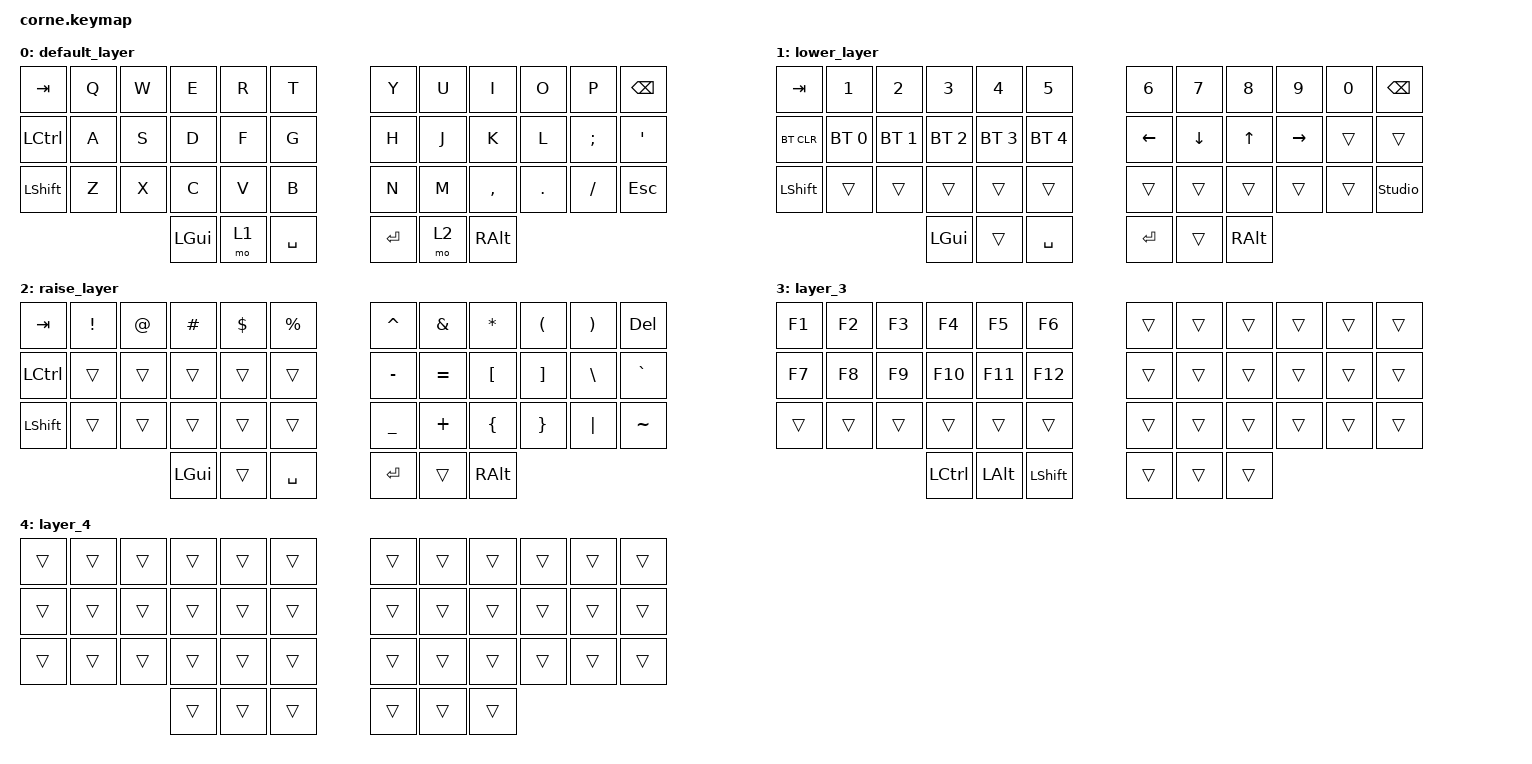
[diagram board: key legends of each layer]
/*
 * Copyright (c) 2020 The ZMK Contributors
 *
 * SPDX-License-Identifier: MIT
 */

#include <behaviors.dtsi>
#include <dt-bindings/zmk/bt.h>
#include <dt-bindings/zmk/keys.h>

/ {
    keymap {
        compatible = "zmk,keymap";

        default_layer {
            // -----------------------------------------------------------------------------------------
            // |  TAB |  Q  |  W  |  E  |  R  |  T  |   |  Y  |  U   |  I  |  O  |  P  | BSPC |
            // | CTRL |  A  |  S  |  D  |  F  |  G  |   |  H  |  J   |  K  |  L  |  ;  |  '   |
            // | SHFT |  Z  |  X  |  C  |  V  |  B  |   |  N  |  M   |  ,  |  .  |  /  | ESC  |
            //                    | GUI | LWR | SPC |   | ENT | RSE  | ALT |

            bindings = <
&kp TAB    &kp Q  &kp W  &kp E     &kp R  &kp T        &kp Y    &kp U  &kp I      &kp O    &kp P     &kp BSPC
&kp LCTRL  &kp A  &kp S  &kp D     &kp F  &kp G        &kp H    &kp J  &kp K      &kp L    &kp SEMI  &kp SQT
&kp LSHFT  &kp Z  &kp X  &kp C     &kp V  &kp B        &kp N    &kp M  &kp COMMA  &kp DOT  &kp FSLH  &kp ESC
                         &kp LGUI  &mo 1  &kp SPACE    &kp RET  &mo 2  &kp RALT
            >;
        };

        lower_layer {
            // -----------------------------------------------------------------------------------------
            // |  TAB |  1  |  2  |  3  |  4  |  5  |   |  6  |  7  |  8  |  9  |  0  | BSPC |
            // | BTCLR| BT1 | BT2 | BT3 | BT4 | BT5 |   | LFT | DWN |  UP | RGT |     |      |
            // | SHFT |     |     |     |     |     |   |     |     |     |     |     | STEN |
            //                    | GUI |     | SPC |   | ENT |     | ALT |

            bindings = <
&kp TAB     &kp N1        &kp N2        &kp N3        &kp N4        &kp N5          &kp N6    &kp N7    &kp N8    &kp N9     &kp N0  &kp BSPC
&bt BT_CLR  &bt BT_SEL 0  &bt BT_SEL 1  &bt BT_SEL 2  &bt BT_SEL 3  &bt BT_SEL 4    &kp LEFT  &kp DOWN  &kp UP    &kp RIGHT  &trans  &trans
&kp LSHFT   &trans        &trans        &trans        &trans        &trans          &trans    &trans    &trans    &trans     &trans  &studio_unlock
                                        &kp LGUI      &trans        &kp SPACE       &kp RET   &trans    &kp RALT
            >;
        };

        raise_layer {
            // -----------------------------------------------------------------------------------------
            // |  TAB |  !  |  @  |  #  |  $  |  %  |   |  ^  |  &  |  *  |  (  |  )  | DEL |
            // | CTRL |     |     |     |     |     |   |  -  |  =  |  [  |  ]  |  \  |  `   |
            // | SHFT |     |     |     |     |     |   |  _  |  +  |  {  |  }  | "|" |  ~   |
            //                    | GUI |     | SPC |   | ENT |     | ALT |

            bindings = <
&kp TAB    &kp EXCL  &kp AT  &kp HASH  &kp DLLR  &kp PRCNT    &kp CARET  &kp AMPS   &kp ASTRK  &kp LPAR  &kp RPAR  &kp DEL
&kp LCTRL  &trans    &trans  &trans    &trans    &trans       &kp MINUS  &kp EQUAL  &kp LBKT   &kp RBKT  &kp BSLH  &kp GRAVE
&kp LSHFT  &trans    &trans  &trans    &trans    &trans       &kp UNDER  &kp PLUS   &kp LBRC   &kp RBRC  &kp PIPE  &kp TILDE
                             &kp LGUI  &trans    &kp SPACE    &kp RET    &trans     &kp RALT
            >;
        };

        layer_3 {
            bindings = <
&kp F1  &kp F2  &kp F3  &kp F4     &kp F5    &kp F6       &trans  &trans  &trans  &trans  &trans  &trans
&kp F7  &kp F8  &kp F9  &kp F10    &kp F11   &kp F12      &trans  &trans  &trans  &trans  &trans  &trans
&trans  &trans  &trans  &trans     &trans    &trans       &trans  &trans  &trans  &trans  &trans  &trans
                        &kp LCTRL  &kp LALT  &kp LSHFT    &trans  &trans  &trans
            >;
        };

        layer_4 {
            bindings = <
&trans  &trans  &trans  &trans  &trans  &trans    &trans  &trans  &trans  &trans  &trans  &trans
&trans  &trans  &trans  &trans  &trans  &trans    &trans  &trans  &trans  &trans  &trans  &trans
&trans  &trans  &trans  &trans  &trans  &trans    &trans  &trans  &trans  &trans  &trans  &trans
                        &trans  &trans  &trans    &trans  &trans  &trans
            >;
        };
    };
};
